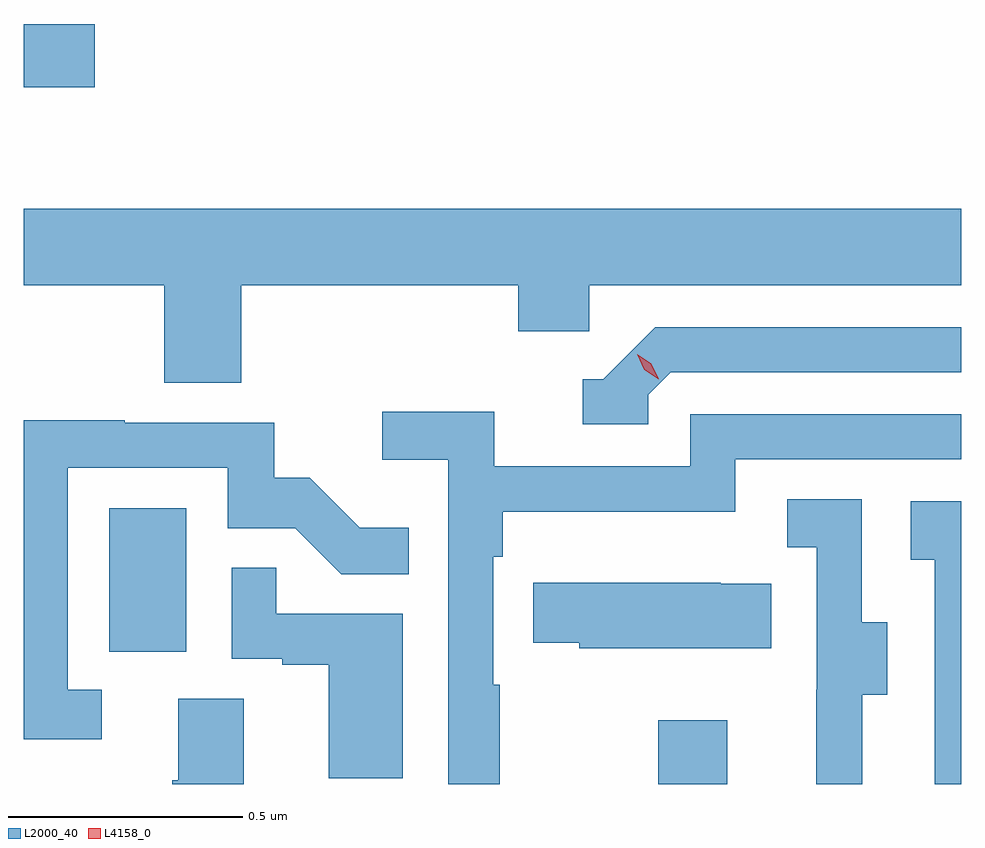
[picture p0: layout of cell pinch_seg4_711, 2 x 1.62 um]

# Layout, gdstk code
import gdstk
lib = gdstk.Library(unit=1e-6, precision=1e-09)
def R(c, l, rs):  # rectangles x0, y0, x1, y1
    for r in rs: c.add(gdstk.rectangle(r[:2], r[2:], *l))
def P(c, l, *ps):  # polygons
    for p in ps: c.add(gdstk.Polygon(p, *l))
L2000_40 = (2000, 40)
L4158_0 = (4158, 0)

pinch_seg4_711 = lib.new_cell('pinch_seg4_711')
R(pinch_seg4_711, L2000_40, [(1091.566,766.452,1091.713,766.588), (1090.394,766.734,1090.558,767.041), (1090.212,767.939,1090.363,768.074)])
P(pinch_seg4_711, L2000_40, [(1090.676,767.516),(1091.267,767.516),(1091.267,767.418),(1091.418,767.418),(1091.418,767.516),(1092.212,767.516),(1092.212,767.68),(1090.212,767.68),(1090.212,767.516),(1090.511,767.516),(1090.511,767.308),(1090.676,767.308)],
  [(1091.544,767.283),(1091.592,767.331),(1092.212,767.331),(1092.212,767.427),(1091.559,767.427),(1091.448,767.316),(1091.405,767.316),(1091.405,767.22),(1091.544,767.22)],
  [(1091.227,766.664),(1091.214,766.664),(1091.214,766.937),(1091.234,766.937),(1091.234,767.033),(1091.73,767.033),(1091.73,767.145),(1092.212,767.145),(1092.212,767.241),(1091.634,767.241),(1091.634,767.13),(1091.216,767.13),(1091.216,767.246),(1090.977,767.246),(1090.977,767.144),(1091.118,767.144),(1091.118,766.452),(1091.227,766.452)],
  [(1090.378,766.653),(1090.305,766.653),(1090.305,767.127),(1090.647,767.127),(1090.647,766.998),(1090.791,766.998),(1090.889,766.9),(1091.033,766.9),(1091.033,766.999),(1090.929,766.999),(1090.822,767.106),(1090.746,767.106),(1090.746,767.223),(1090.427,767.223),(1090.427,767.228),(1090.212,767.228),(1090.212,766.548),(1090.378,766.548)],
  [(1092.001,766.642),(1092.055,766.642),(1092.055,766.797),(1092,766.797),(1092,767.06),(1091.841,767.06),(1091.841,766.957),(1091.904,766.957),(1091.904,766.653),(1091.903,766.653),(1091.903,766.452),(1092.001,766.452)],
  [(1092.212,767.055),(1092.105,767.055),(1092.105,766.931),(1092.156,766.931),(1092.156,766.452),(1092.212,766.452)],
  [(1091.02,766.815),(1090.751,766.815),(1090.751,766.913),(1090.656,766.913),(1090.656,766.719),(1090.763,766.719),(1090.763,766.707),(1090.862,766.707),(1090.862,766.464),(1091.02,766.464)],
  [(1091.807,766.879),(1091.699,766.879),(1091.699,766.882),(1091.299,766.882),(1091.299,766.753),(1091.397,766.753),(1091.397,766.742),(1091.807,766.742)],
  [(1090.681,766.634),(1090.541,766.634),(1090.541,766.46),(1090.529,766.46),(1090.529,766.452),(1090.681,766.452)])
P(pinch_seg4_711, L4158_0, [(1091.567,767.316),(1091.536,767.336),(1091.521,767.369),(1091.521,767.369),(1091.521,767.369),(1091.551,767.349),(1091.567,767.317),(1091.567,767.316)])

lib.write_gds('pinch_seg4_711.gds')
